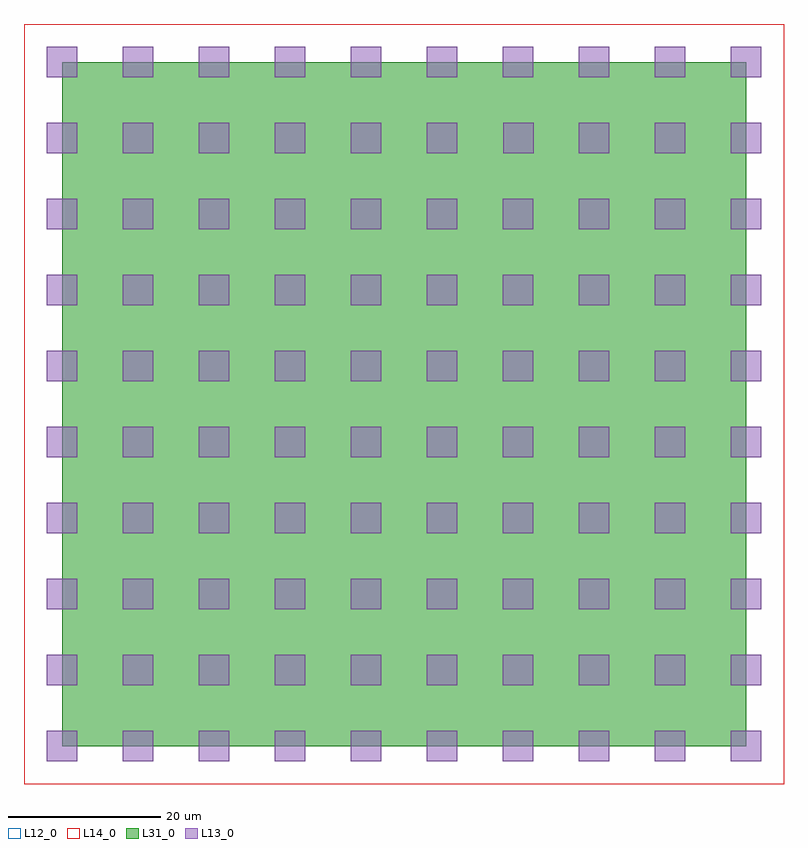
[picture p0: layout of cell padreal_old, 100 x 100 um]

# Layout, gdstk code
import gdstk
lib = gdstk.Library(unit=1e-6, precision=2.5e-08)
def R(c, l, rs):  # rectangles x0, y0, x1, y1
    for r in rs: c.add(gdstk.rectangle(r[:2], r[2:], *l))
def A(c, l, x, y, w, h, nx, ny, dx, dy):  # array of equal rectangles
    R(c, l, [(x+i*dx, y+j*dy, x+i*dx+w, y+j*dy+h) for i in range(nx) for j in range(ny)])
L12_0 = (12, 0)
L13_0 = (13, 0)
L14_0 = (14, 0)
L31_0 = (31, 0)

padreal_old = lib.new_cell('padreal_old')
R(padreal_old, L12_0, [(30,30,130,130)])
A(padreal_old, L13_0, 33, 33, 4, 4, 10, 8, 10, 10)
A(padreal_old, L13_0, 33, 113, 4, 4, 6, 1, 10, 0)
A(padreal_old, L13_0, 103, 113, 4, 4, 3, 1, 10, 0)
A(padreal_old, L13_0, 33, 123, 4, 4, 10, 1, 10, 0)
R(padreal_old, L13_0, [(93.05,113,97.05,117)])
R(padreal_old, L14_0, [(30,30,130,130)])
R(padreal_old, L31_0, [(35,35,125,125)])

lib.write_gds('padreal_old.gds')
